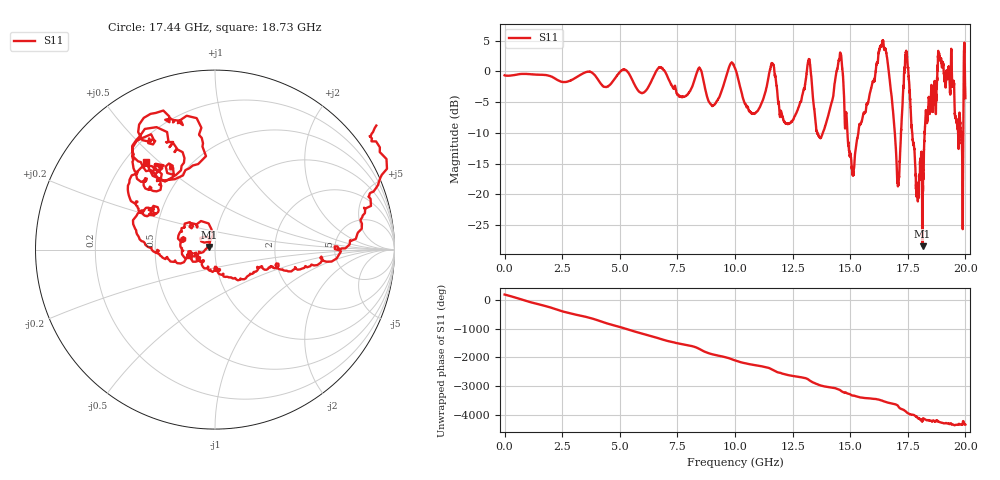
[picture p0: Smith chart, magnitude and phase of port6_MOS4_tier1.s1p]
! Created with skrf 1.8.0 (http://scikit-rf.org).
# GHz S RI R 50.0
!freq ReS11 ImS11
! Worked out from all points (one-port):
!   10001 points, 1 MHz to 20 GHz, reference 50 ohm
!   lowest |S11| = -28.4 dB at 18.14 GHz (marker M1), VSWR 1.08, Z = 46.6 + j1.32 ohm
!   |S11| at or under -10 dB: 14.88 GHz to 15.35 GHz (471.8 MHz wide, 3.12 % of centre); 16.94 GHz to 17.2 GHz (264.7 MHz wide, 1.55 % of centre); 17.69 GHz to 18.23 GHz (536.6 MHz wide, 2.99 % of centre) (the widest 3 of 8)
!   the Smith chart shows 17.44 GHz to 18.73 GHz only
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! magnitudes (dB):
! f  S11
! 1 MHz  -0.6
! 2.501 GHz  -1.7
! 5.001 GHz  -0.1
! 7.501 GHz  -3.8
! 8.463 GHz  0.6
! 9.071 GHz  -5.5
! 10 GHz  0.6
! 10.81 GHz  -6.8
! 11.62 GHz  1.3
! 12.02 GHz  -6.7
! 12.5 GHz  -8.0
! 13.21 GHz  2.0
! 13.75 GHz  -10.7
! 14.56 GHz  3.0
! 15 GHz  -13.4
! 15.15 GHz  -15.9
! 16.39 GHz  4.7
! 16.64 GHz  0.9
! 17.09 GHz  -18.5
! 17.37 GHz  0.4
! 17.5 GHz  0.6
! 17.89 GHz  -18.9
! 18.14 GHz  -28.4
! 18.33 GHz  -7.5
! 18.88 GHz  2.4
! 19.44 GHz  -2.1
! 19.8 GHz  -10.0
! 20 GHz  -4.3
